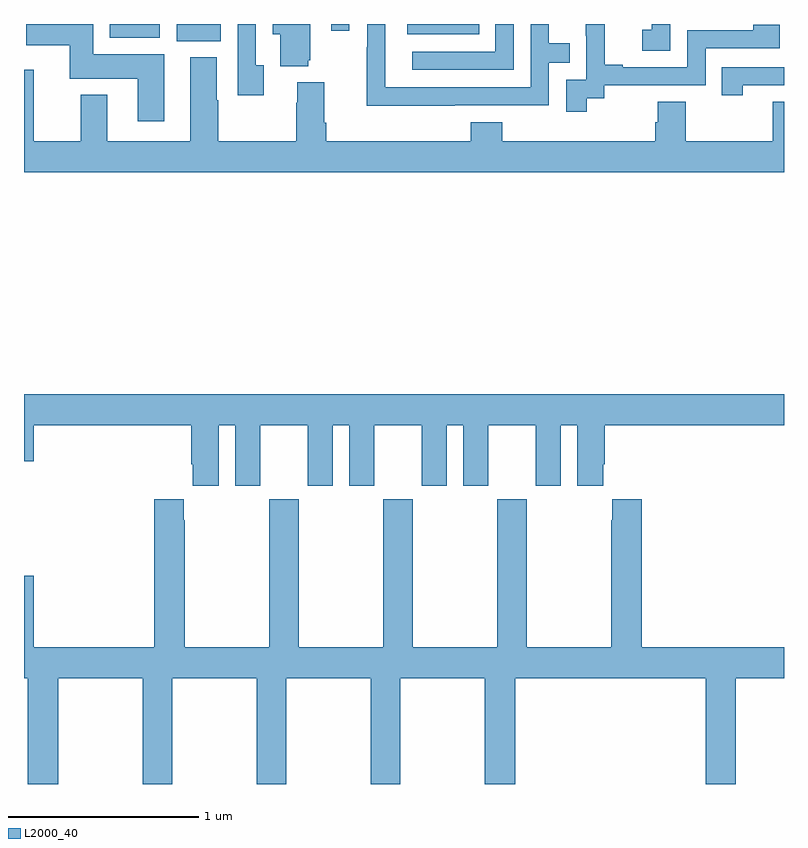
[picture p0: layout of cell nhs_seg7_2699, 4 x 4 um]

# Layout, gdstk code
import gdstk
lib = gdstk.Library(unit=1e-6, precision=1e-09)
def R(c, l, rs):  # rectangles x0, y0, x1, y1
    for r in rs: c.add(gdstk.rectangle(r[:2], r[2:], *l))
def P(c, l, *ps):  # polygons
    for p in ps: c.add(gdstk.Polygon(p, *l))
L2000_40 = (2000, 40)

nhs_seg7_2699 = lib.new_cell('nhs_seg7_2699')
R(nhs_seg7_2699, L2000_40, [(285.803,1063.91,286.036,1064), (285.452,1063.928,285.715,1064), (287.018,1063.946,287.396,1064), (286.617,1063.965,286.713,1064)])
P(nhs_seg7_2699, L2000_40, [(286.261,1063.782),(286.221,1063.782),(286.221,1064),(286.125,1064),(286.125,1063.626),(286.261,1063.626)],
  [(285.739,1063.84),(285.364,1063.84),(285.364,1064),(285.013,1064),(285.013,1063.889),(285.242,1063.889),(285.242,1063.712),(285.599,1063.712),(285.599,1063.488),(285.739,1063.488)],
  [(288.402,1064),(288.304,1064),(288.304,1063.969),(288.255,1063.969),(288.255,1063.86),(288.402,1063.86)],
  [(287.267,1063.572),(287.763,1063.572),(287.763,1063.797),(287.873,1063.797),(287.873,1063.898),(287.763,1063.898),(287.763,1064),(287.667,1064),(287.667,1063.668),(286.902,1063.668),(286.902,1064),(286.806,1064),(286.806,1063.877),(286.804,1063.877),(286.804,1063.571),(287.267,1063.571)],
  [(287.962,1063.609),(288.054,1063.609),(288.054,1063.677),(288.588,1063.677),(288.588,1063.872),(288.977,1063.872),(288.977,1063.995),(288.837,1063.995),(288.837,1063.968),(288.492,1063.968),(288.492,1063.773),(288.151,1063.773),(288.151,1063.786),(288.056,1063.786),(288.056,1064),(287.957,1064),(287.957,1063.937),(287.958,1063.937),(287.958,1063.707),(287.853,1063.707),(287.853,1063.539),(287.962,1063.539)],
  [(287.577,1064),(287.481,1064),(287.481,1063.854),(287.043,1063.854),(287.043,1063.758),(287.577,1063.758)],
  [(286.496,1063.809),(286.507,1063.809),(286.507,1064),(286.31,1064),(286.31,1063.946),(286.349,1063.946),(286.349,1063.778),(286.496,1063.778)],
  [(288.784,1063.677),(289,1063.677),(289,1063.773),(288.673,1063.773),(288.673,1063.626),(288.784,1063.626)],
  [(286.439,1063.693),(286.439,1063.586),(286.432,1063.586),(286.432,1063.384),(286.023,1063.384),(286.023,1063.599),(286.015,1063.599),(286.015,1063.825),(285.875,1063.825),(285.875,1063.384),(285.439,1063.384),(285.439,1063.627),(285.299,1063.627),(285.299,1063.384),(285.052,1063.384),(285.052,1063.759),(285,1063.759),(285,1063.22),(289,1063.22),(289,1063.592),(288.94,1063.592),(288.94,1063.384),(288.483,1063.384),(288.483,1063.592),(288.335,1063.592),(288.335,1063.482),(288.323,1063.482),(288.323,1063.384),(287.516,1063.384),(287.516,1063.483),(287.351,1063.483),(287.351,1063.384),(286.592,1063.384),(286.592,1063.48),(286.579,1063.48),(286.579,1063.693)],
  [(286.024,1061.888),(286.112,1061.888),(286.112,1061.571),(286.243,1061.571),(286.243,1061.888),(286.493,1061.888),(286.493,1061.571),(286.624,1061.571),(286.624,1061.888),(286.712,1061.888),(286.712,1061.571),(286.843,1061.571),(286.843,1061.888),(287.093,1061.888),(287.093,1061.571),(287.224,1061.571),(287.224,1061.888),(287.312,1061.888),(287.312,1061.571),(287.443,1061.571),(287.443,1061.888),(287.693,1061.888),(287.693,1061.571),(287.824,1061.571),(287.824,1061.888),(287.912,1061.888),(287.912,1061.571),(288.049,1061.571),(288.049,1061.683),(288.056,1061.683),(288.056,1061.888),(289,1061.888),(289,1062.052),(285,1062.052),(285,1061.7),(285.052,1061.7),(285.052,1061.888),(285.881,1061.888),(285.881,1061.683),(285.887,1061.683),(285.887,1061.571),(286.024,1061.571)],
  [(285.18,1060.556),(285.625,1060.556),(285.625,1060),(285.78,1060),(285.78,1060.556),(286.225,1060.556),(286.225,1060),(286.38,1060),(286.38,1060.556),(286.825,1060.556),(286.825,1060),(286.98,1060),(286.98,1060.556),(287.425,1060.556),(287.425,1060),(287.585,1060),(287.585,1060.556),(288.587,1060.556),(288.587,1060),(288.747,1060),(288.747,1060.556),(289,1060.556),(289,1060.72),(288.251,1060.72),(288.251,1061.5),(288.095,1061.5),(288.095,1061.387),(288.091,1061.387),(288.091,1060.72),(287.646,1060.72),(287.646,1061.5),(287.491,1061.5),(287.491,1060.72),(287.046,1060.72),(287.046,1061.5),(286.891,1061.5),(286.891,1060.72),(286.446,1060.72),(286.446,1061.5),(286.291,1061.5),(286.291,1060.72),(285.846,1060.72),(285.846,1061.387),(285.841,1061.387),(285.841,1061.5),(285.686,1061.5),(285.686,1060.72),(285.052,1060.72),(285.052,1061.095),(285,1061.095),(285,1060.556),(285.02,1060.556),(285.02,1060),(285.18,1060)])

lib.write_gds('nhs_seg7_2699.gds')
